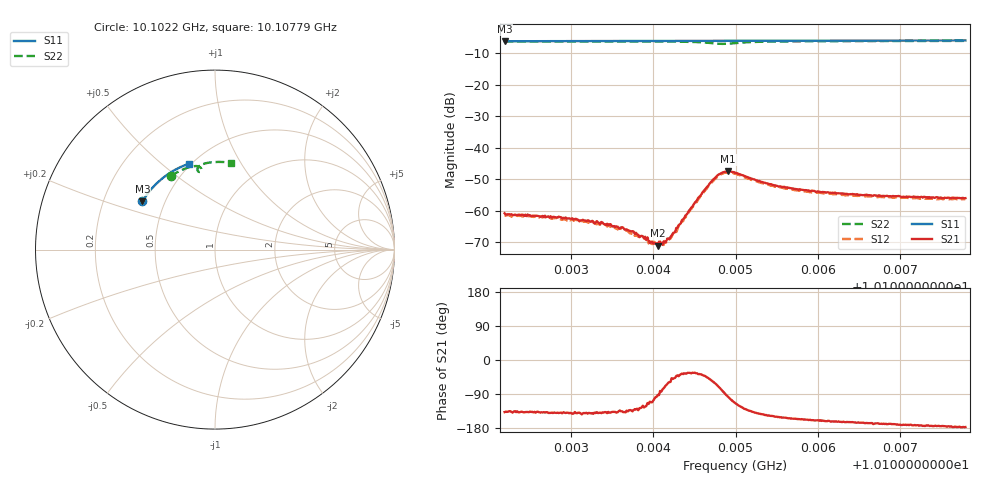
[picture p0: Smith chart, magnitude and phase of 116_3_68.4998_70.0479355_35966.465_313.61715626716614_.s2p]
#  HZ  S  RI  R  50.00
! Rohde & Schwarz Vector Network Analyzer
! Rohde-Schwarz,ZNB20-2Port,1311601062101988,3.16
! Created: UTC 3/20/2024, 5:08:55 PM
! freq[Hz]  re:S11  im:S11  re:S21  im:S21  re:S12  im:S12  re:S22  im:S22
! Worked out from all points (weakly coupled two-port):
!   401 points, 10.1022 GHz to 10.10779 GHz, reference 50 ohm
!   highest |S21| = -47.51 dB at 10.10491 GHz (marker M1); lowest = -71.0 dB at 10.10406 GHz (marker M2)
!   lowest |S11| = -6.3 dB at 10.1022 GHz (marker M3), VSWR 2.89, Z = 18.7 + j13.1 ohm
!   |S11| at or under -10 dB: nowhere
!   |S22| runs from -7.1 to -6.2 dB; largest |S21 - S12| = 0.00045
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1.0102199e10  -0.4047 0.2683  -0.000672 -0.000616  -0.000551 -0.000629  -0.2452 0.4102
1.010266e10  -0.3896 0.2919  -0.00062 -0.000549  -0.000532 -0.000572  -0.2193 0.426
1.0103135e10  -0.3728 0.3154  -0.000565 -0.000419  -0.000464 -0.000502  -0.1916 0.4405
1.0103261e10  -0.3681 0.3214  -0.00053 -0.000445  -0.000469 -0.000486  -0.1838 0.4441
1.0103638e10  -0.3533 0.3392  -0.000399 -0.000364  -0.000335 -0.000366  -0.1598 0.4539
1.0103904e10  -0.3426 0.3511  -0.000209 -0.000325  -0.000153 -0.000321  -0.1418 0.4598
1.0103974e10  -0.3396 0.3541  -0.000115 -0.000292  -8.55e-05 -0.00029  -0.1369 0.4613
1.0103988e10  -0.339 0.3547  -0.000119 -0.000302  -8.89e-05 -0.000283  -0.1357 0.4615
1.0104058e10  -0.3361 0.3578  -9.81e-06 -0.00028  1.82e-05 -0.000299  -0.1306 0.4627
1.0104071e10  -0.3355 0.3585  -1.52e-05 -0.000323  1.57e-05 -0.000274  -0.1296 0.463
1.0104141e10  -0.3325 0.3613  0.000102 -0.000298  0.000139 -0.000304  -0.1242 0.4641
1.0104225e10  -0.3289 0.365  0.000271 -0.000302  0.000242 -0.000305  -0.1173 0.4652
1.0104533e10  -0.3154 0.3779  0.0012 -0.000847  0.00118 -0.000744  -0.089 0.4624
1.0104728e10  -0.3064 0.3856  0.00168 -0.00262  0.00183 -0.00232  -0.0751 0.4447
1.0104826e10  -0.302 0.3893  0.000831 -0.00385  0.00112 -0.00363  -0.0813 0.4338
1.010491e10  -0.2981 0.3926  -0.000529 -0.00418  -0.000139 -0.00402  -0.092 0.434
1.0104994e10  -0.2945 0.3959  -0.00158 -0.00368  -0.00122 -0.00366  -0.0978 0.4428
1.0105217e10  -0.2837 0.4042  -0.00232 -0.00212  -0.00206 -0.00223  -0.0888 0.4645
1.0105497e10  -0.2702 0.4143  -0.00215 -0.00127  -0.00196 -0.0014  -0.0675 0.4764
1.010593e10  -0.2485 0.4288  -0.00194 -0.000758  -0.00174 -0.000865  -0.0361 0.4842
1.0106866e10  -0.1988 0.4564  -0.00167 -0.000341  -0.00159 -0.000447  0.0269 0.4885
1.0107788e10  -0.1472 0.4775  -0.00158 -8.58e-05  -0.0015 -0.000226  0.0866 0.4839
